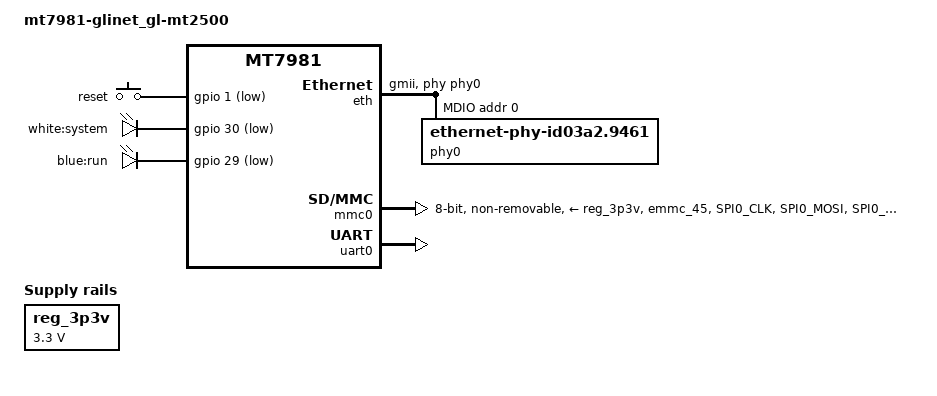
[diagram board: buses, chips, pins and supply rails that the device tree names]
// SPDX-License-Identifier: GPL-2.0
/*
 * Copyright (c) 2021 MediaTek Inc.
 * Author: Sam Shih <sam.shih@mediatek.com>
 */

/dts-v1/;
#include "mt7981.dtsi"
#include <dt-bindings/gpio/gpio.h>

/ {
	#address-cells = <1>;
	#size-cells = <1>;
	model = "mt7981-glinet_gl-mt2500";
	compatible = "mediatek,mt7981", "mediatek,mt7981-rfb";

	chosen {
		stdout-path = &uart0;
		tick-timer = &timer0;
	};

	config {
		bootcmd = "mtkboardboot";
		blink_led = "blue:run";
		system_led = "white:system";
		gpio_power_clr = <12>;
	};

	gpio-keys {
		compatible = "gpio-keys";

		button-reset {
			label = "reset";
			gpios = <&gpio 1 GPIO_ACTIVE_LOW>;
		};
	};

	gpio-leds {
		compatible = "gpio-leds";

		led-0 {
			label = "white:system";
			gpios = <&gpio 30 GPIO_ACTIVE_LOW>;
		};

		led-1 {
			label = "blue:run";
			gpios = <&gpio 29 GPIO_ACTIVE_LOW>;
		};
	};

	reg_3p3v: regulator-3p3v {
		  compatible = "regulator-fixed";
		  regulator-name = "fixed-3.3V";
		  regulator-min-microvolt = <3300000>;
		  regulator-max-microvolt = <3300000>;
		  regulator-boot-on;
		  regulator-always-on;
	};
};

&eth {
	status = "okay";
	mediatek,gmac-id = <1>;
	phy-mode = "gmii";
	phy-handle = <&phy0>;

	mdio {
		phy0: ethernet-phy@0 {
			compatible = "ethernet-phy-id03a2.9461";
			reg = <0x0>;
			phy-mode = "gmii";
		};
	};
};

&mmc0 {
	pinctrl-names = "default";
	pinctrl-0 = <&mmc0_pins_default>;
	bus-width = <8>;
	max-frequency = <52000000>;
	cap-mmc-highspeed;
	cap-mmc-hw-reset;
	vmmc-supply = <&reg_3p3v>;
	non-removable;
	status = "okay";
};

&pinctrl {
	mmc0_pins_default: mmc0default {
		mux {
			function = "flash";
			groups = "emmc_45";
		};
		conf-cmd-dat {
			pins = "SPI0_CLK", "SPI0_MOSI", "SPI0_MISO",
				"SPI0_CS",  "SPI0_HOLD", "SPI0_WP",
				"SPI1_CLK", "SPI1_MOSI", "SPI1_MISO";
			input-enable;
			drive-strength = <MTK_DRIVE_4mA>;
			bias-pull-up = <MTK_PUPD_SET_R1R0_01>;
		};
		conf-clk {
			pins = "SPI1_CS";
			drive-strength = <MTK_DRIVE_6mA>;
			bias-pull-down = <MTK_PUPD_SET_R1R0_10>;
		};
		conf-rst {
			pins = "PWM0";
			drive-strength = <MTK_DRIVE_4mA>;
			bias-pull-up = <MTK_PUPD_SET_R1R0_01>;
		};
	};
};

&uart0 {
	status = "okay";
};

&watchdog {
	status = "disabled";
};
